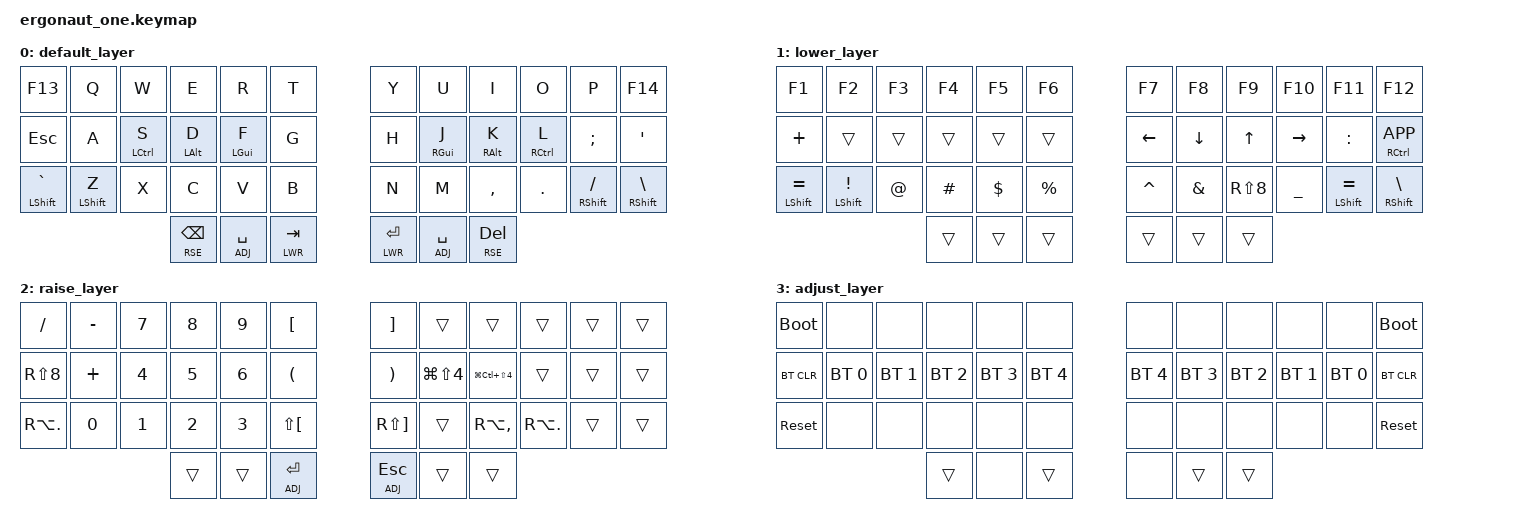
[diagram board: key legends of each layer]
#include <behaviors.dtsi>
#include <dt-bindings/zmk/keys.h>
#include <dt-bindings/zmk/bt.h>

#define DEF 0
#define LWR 1
#define RSE 2
#define ADJ 3

&lt { quick_tap_ms = <200>; };
&mt { quick_tap_ms = <200>; };

/ {
    behaviors {
        bhm: balanced_homerow_mods {
            compatible = "zmk,behavior-hold-tap";
            label = "HOMEROW_MODS";
            #binding-cells = <2>;
            tapping-term-ms = <200>;    // <---[[moderate duration]]
            quick-tap-ms = <0>;
            flavor = "balanced";
            bindings = <&kp>, <&kp>;
        };
    };
    conditional_layers {
        compatible = "zmk,conditional-layers";

        tri-layer {
            if-layers = <1 2>;
            then-layer = <3>;
        };
    };
    keymap {
        compatible = "zmk,keymap";

        default_layer {
            bindings = <
                &kp F13         &kp Q          &kp W         &kp E         &kp R              &kp T         &kp Y         &kp U            &kp I            &kp O           &kp P               &kp F14
                &kp ESC           &kp A          &bhm LCTRL S  &bhm LALT D   &bhm LGUI F        &kp G         &kp H         &bhm RGUI J      &bhm RALT  K     &bhm RCTRL L    &kp SEMI            &kp SQT
                &bhm LSHIFT GRAVE  &bhm LSHIFT Z  &kp X         &kp C         &kp V              &kp B         &kp N         &kp M            &kp COMMA        &kp DOT         &bhm RSHIFT FSLH    &bhm RSHFT BSLH
                                                                &lt RSE BSPC  &lt ADJ SPACE      &lt LWR TAB   &lt LWR RET   &lt ADJ SPACE    &lt RSE DEL
            >;
        };
        lower_layer {
            bindings = <
                &kp  F1           &kp F2           &kp F3           &kp F4        &kp F5        &kp F6                    &kp F7      &kp F8     &kp F9        &kp F10      &kp F11             &kp F12
                &kp PLUS          &trans           &trans           &trans        &trans        &trans                    &kp LEFT    &kp DOWN   &kp UP        &kp RIGHT    &kp COLON           &bhm RCTRL K_APP
                &bhm LSHIFT EQUAL &bhm LSHIFT EXCL &kp AT           &kp HASH      &kp DLLR      &kp PRCNT                 &kp CARET   &kp AMPS   &kp RS(N8)    &kp UNDER    &bhm LSHIFT EQUAL   &bhm RSHFT BSLH
                                                                    &trans        &trans        &trans                    &trans    &trans   &trans
            >;
        };

        raise_layer {
            bindings = <
            &kp FSLH       &kp MINUS   &kp N7   &kp N8       &kp N9       &kp LBKT                &kp RBKT     &trans          &trans             &trans       &trans    &trans 
            &kp RS(N8)     &kp PLUS    &kp N4   &kp N5       &kp N6       &kp LPAR                &kp RPAR     &kp LG(LS(N4))  &kp LG(LC(LS(N4))) &trans       &trans    &trans
            &kp RA(DOT)    &kp N0      &kp N1   &kp N2       &kp N3       &kp LS(LBKT)            &kp RS(RBKT) &trans          &kp RA(COMMA)      &kp RA(DOT)  &trans    &trans
                                                &trans       &trans       &lt ADJ RET             &lt ADJ ESC  &trans          &trans
            >;
        };
        adjust_layer {
            bindings = <
                &bootloader   &none          &none          &none          &none          &none          &none          &none          &none          &none          &none          &bootloader
                &bt BT_CLR    &bt BT_SEL 0   &bt BT_SEL 1   &bt BT_SEL 2   &bt BT_SEL 3   &bt BT_SEL 4   &bt BT_SEL 4   &bt BT_SEL 3   &bt BT_SEL 2   &bt BT_SEL 1   &bt BT_SEL 0   &bt BT_CLR
                &sys_reset    &none          &none          &none          &none          &none          &none          &none          &none          &none          &none          &sys_reset
                                                            &trans         &none          &trans         &none          &trans         &trans
            >;
        };
    };
};
